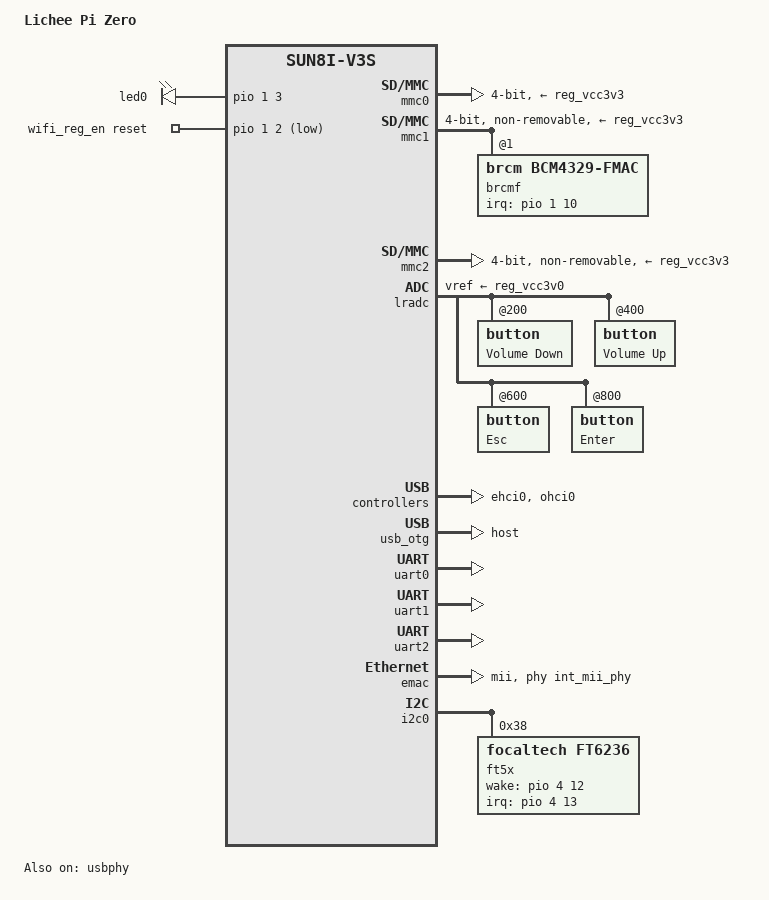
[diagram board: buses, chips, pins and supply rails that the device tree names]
/*
 * Copyright (C) 2016 Icenowy Zheng <icenowy@aosc.xyz>
 *
 * This file is dual-licensed: you can use it either under the terms
 * of the GPL or the X11 license, at your option. Note that this dual
 * licensing only applies to this file, and not this project as a
 * whole.
 *
 *  a) This file is free software; you can redistribute it and/or
 *     modify it under the terms of the GNU General Public License as
 *     published by the Free Software Foundation; either version 2 of the
 *     License, or (at your option) any later version.
 *
 *     This file is distributed in the hope that it will be useful,
 *     but WITHOUT ANY WARRANTY; without even the implied warranty of
 *     MERCHANTABILITY or FITNESS FOR A PARTICULAR PURPOSE.  See the
 *     GNU General Public License for more details.
 *
 * Or, alternatively,
 *
 *  b) Permission is hereby granted, free of charge, to any person
 *     obtaining a copy of this software and associated documentation
 *     files (the "Software"), to deal in the Software without
 *     restriction, including without limitation the rights to use,
 *     copy, modify, merge, publish, distribute, sublicense, and/or
 *     sell copies of the Software, and to permit persons to whom the
 *     Software is furnished to do so, subject to the following
 *     conditions:
 *
 *     The above copyright notice and this permission notice shall be
 *     included in all copies or substantial portions of the Software.
 *
 *     THE SOFTWARE IS PROVIDED "AS IS", WITHOUT WARRANTY OF ANY KIND,
 *     EXPRESS OR IMPLIED, INCLUDING BUT NOT LIMITED TO THE WARRANTIES
 *     OF MERCHANTABILITY, FITNESS FOR A PARTICULAR PURPOSE AND
 *     NONINFRINGEMENT. IN NO EVENT SHALL THE AUTHORS OR COPYRIGHT
 *     HOLDERS BE LIABLE FOR ANY CLAIM, DAMAGES OR OTHER LIABILITY,
 *     WHETHER IN AN ACTION OF CONTRACT, TORT OR OTHERWISE, ARISING
 *     FROM, OUT OF OR IN CONNECTION WITH THE SOFTWARE OR THE USE OR
 *     OTHER DEALINGS IN THE SOFTWARE.
 */

/dts-v1/;
#include "sun8i-v3s.dtsi"
#include "sunxi-common-regulators.dtsi"
#include <dt-bindings/input/input.h>

/ {
	model = "Lichee Pi Zero";
	compatible = "licheepi,licheepi-zero", "allwinner,sun8i-v3s";

	aliases {
		serial0 = &uart0;
	};

	chosen {
		stdout-path = "serial0:115200n8";
	};

	leds {
		compatible = "gpio-leds";
		
		red_led {
			label = "led0";
			gpios = <&pio 1 3 GPIO_ACTIVE_HIGH>; /* PB3 */
		};
	};

	wifi_reg_en: wifi_reg_en {
		compatible = "mmc-pwrseq-simple";
		pinctrl-names = "default";
		pinctrl-0 = <&wifi_en_pin>;
		reset-gpios = <&pio 1 2 GPIO_ACTIVE_LOW>; /* PB2 */
	};	
};

&mmc0 {
	pinctrl-0 = <&mmc0_pins_a>;
	pinctrl-names = "default";
	broken-cd;
	bus-width = <4>;
	vmmc-supply = <&reg_vcc3v3>;
	status = "okay";
};

&mmc1 {
	pinctrl-names = "default";
	pinctrl-0 = <&mmc1_pins_a>;
	vmmc-supply = <&reg_vcc3v3>;
	vqmmc-supply = <&reg_vcc3v3>;
	mmc-pwrseq = <&wifi_reg_en>;
	bus-width = <4>;
	non-removable;
	status = "okay";

	brcmf: wifi@1 {
		reg = <1>;
		compatible = "brcm,bcm4329-fmac";
    interrupt-parent = <&pio>;
		interrupt-names = "host-wake";
    interrupts = <1 10 IRQ_TYPE_LEVEL_LOW>;	/* PB10 / EINT10 */
	};
};


&mmc2 {
	pinctrl-names = "default";
	pinctrl-0 = <&mmc2_pins_a>;
	vmmc-supply = <&reg_vcc3v3>;
	vqmmc-supply = <&reg_vcc3v3>;
	bus-width = <4>;
	non-removable;
	status = "okay";
};

&lradc {
	vref-supply = <&reg_vcc3v0>;
	status = "okay";

	button@200 {
		label = "Volume Down";
		linux,code = <KEY_VOLUMEDOWN>;
		channel = <0>;
		voltage = <200000>;
	};

	button@400 {
		label = "Volume Up";
		linux,code = <KEY_VOLUMEUP>;
		channel = <0>;
		voltage = <400000>;
	};

	button@600 {
		label = "Esc";
		linux,code = <KEY_ESC>;
		channel = <0>;
		voltage = <600000>;
	};

	button@800 {
		label = "Enter";
		linux,code = <KEY_ENTER>;
		channel = <0>;
		voltage = <800000>;
	};

	button@1000 {
		label = "Menu";
		linux,code = <KEY_MENU>;
		channel = <0>;
		voltage = <1000000>;
	};	
};

&ehci0 {
	status = "okay";
};


&ohci0 {
	status = "okay";
};

&usb_otg {
	dr_mode = "host";
	status = "okay";
};

&usbphy {
	//usb0_id_det-gpio = <&pio 5 6 GPIO_ACTIVE_HIGH>;
	status = "okay";
};


&uart0 {
	pinctrl-0 = <&uart0_pins_a>;
	pinctrl-names = "default";
	status = "okay";
};

&uart1 {
	pinctrl-0 = <&uart1_pins_a>;
	pinctrl-names = "default";
	status = "okay";
};

&uart2 {
	pinctrl-0 = <&uart2_pins_a>;
	pinctrl-names = "default";
	status = "okay";
};

&emac {
       phy-handle = <&int_mii_phy>;
       phy-mode = "mii";
       allwinner,use-internal-phy;
       allwinner,leds-active-low;
       status = "okay";
};
 
&i2c0 {
        pinctrl-names = "default";
        pinctrl-0 = <&i2c0_pins>;
        status = "okay";

        ft5x: touchscreen@38 {
                compatible = "focaltech,ft6236";
                reg = <0x38>;
                interrupt-parent = <&pio>;
                interrupts = <4 13 IRQ_TYPE_EDGE_FALLING>;	/* PE13 */
                pinctrl-names = "default";
                pinctrl-0 = <&touchscreen_wake_pin>;
                wake-gpios = <&pio 4 12 GPIO_ACTIVE_HIGH>; /* PE12 */
                touchscreen-size-x = <480>;
                touchscreen-size-y = <854>;
                //touchscreen-swapped-x-y;
        };
};

&pio {
    touchscreen_wake_pin: touchscreen_wake_pin@0 {
            allwinner,pins = "PE12";
            allwinner,function = "gpio_out";
            //allwinner,drive = <SUN4I_PINCTRL_10_MA>;
            //allwinner,pull = <SUN4I_PINCTRL_NO_PULL>;
    };
        
	wifi_en_pin: wifi_en_pin {
		pins = "PB2";		//PB2
		function = "gpio_out";
	};
};	
